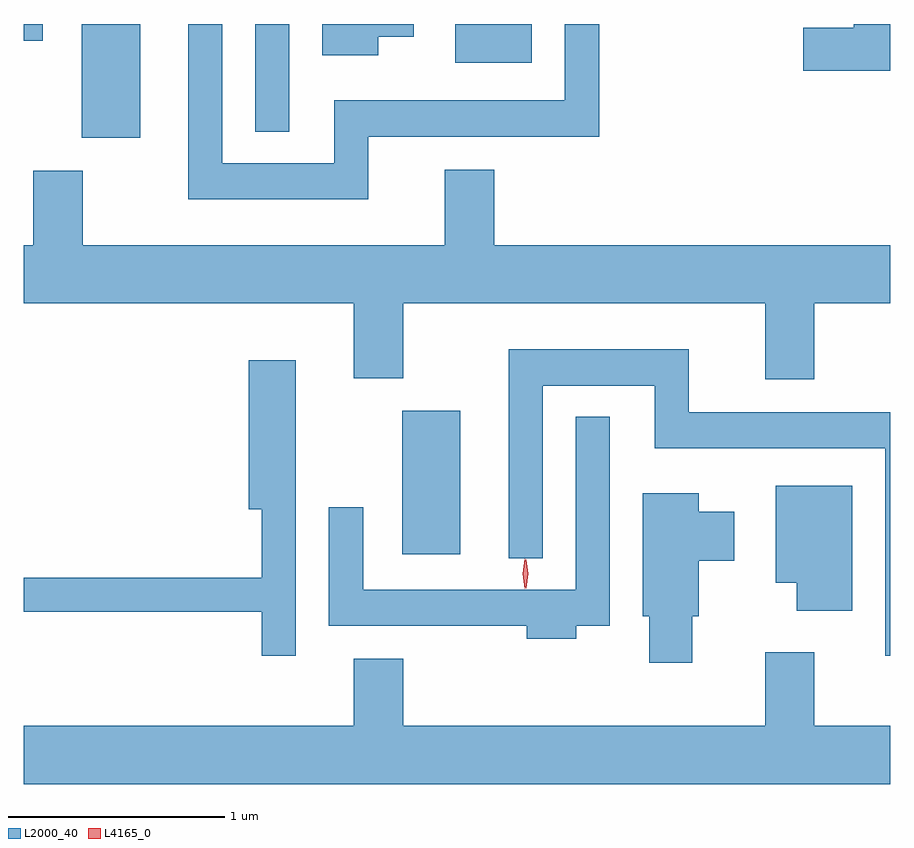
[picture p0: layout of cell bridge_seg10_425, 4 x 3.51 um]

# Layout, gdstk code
import gdstk
lib = gdstk.Library(unit=1e-6, precision=1e-09)
def R(c, l, rs):  # rectangles x0, y0, x1, y1
    for r in rs: c.add(gdstk.rectangle(r[:2], r[2:], *l))
def P(c, l, *ps):  # polygons
    for p in ps: c.add(gdstk.Polygon(p, *l))
L2000_40 = (2000, 40)
L4165_0 = (4165, 0)

bridge_seg10_425 = lib.new_cell('bridge_seg10_425')
R(bridge_seg10_425, L2000_40, [(1416.286,2112.756,1416.554,2113.419), (1414.806,2114.681,1415.074,2115.206), (1415.606,2114.708,1415.764,2115.206), (1416.531,2115.026,1416.884,2115.206), (1414.538,2115.128,1414.624,2115.206)])
P(bridge_seg10_425, L2000_40, [(1418.538,2115.206),(1418.371,2115.206),(1418.371,2115.189),(1418.136,2115.189),(1418.136,2114.991),(1418.538,2114.991)],
  [(1416.129,2114.686),(1417.194,2114.686),(1417.194,2115.206),(1417.036,2115.206),(1417.036,2114.854),(1415.971,2114.854),(1415.971,2114.564),(1415.454,2114.564),(1415.454,2115.206),(1415.296,2115.206),(1415.296,2114.396),(1416.129,2114.396)],
  [(1416.174,2115.146),(1416.339,2115.146),(1416.339,2115.206),(1415.916,2115.206),(1415.916,2115.061),(1416.174,2115.061)],
  [(1418.189,2113.916),(1418.538,2113.916),(1418.538,2114.184),(1416.709,2114.184),(1416.709,2114.534),(1416.481,2114.534),(1416.481,2114.184),(1414.809,2114.184),(1414.809,2114.529),(1414.581,2114.529),(1414.581,2114.184),(1414.538,2114.184),(1414.538,2113.916),(1416.061,2113.916),(1416.061,2113.571),(1416.289,2113.571),(1416.289,2113.916),(1417.961,2113.916),(1417.961,2113.566),(1418.189,2113.566)],
  [(1418.538,2113.414),(1417.609,2113.414),(1417.609,2113.704),(1416.776,2113.704),(1416.776,2112.738),(1416.934,2112.738),(1416.934,2113.536),(1417.451,2113.536),(1417.451,2113.246),(1418.516,2113.246),(1418.516,2112.288),(1418.538,2112.288)],
  [(1415.794,2113.654),(1415.576,2113.654),(1415.576,2112.966),(1415.636,2112.966),(1415.636,2112.649),(1414.538,2112.649),(1414.538,2112.491),(1415.636,2112.491),(1415.636,2112.288),(1415.794,2112.288)],
  [(1417.089,2112.426),(1417.244,2112.426),(1417.244,2113.393),(1417.086,2113.393),(1417.086,2112.594),(1416.104,2112.594),(1416.104,2112.973),(1415.946,2112.973),(1415.946,2112.426),(1416.861,2112.426),(1416.861,2112.366),(1417.089,2112.366)],
  [(1418.364,2113.074),(1418.011,2113.074),(1418.011,2112.626),(1418.106,2112.626),(1418.106,2112.496),(1418.364,2112.496)],
  [(1417.624,2112.471),(1417.654,2112.471),(1417.654,2112.726),(1417.819,2112.726),(1417.819,2112.954),(1417.654,2112.954),(1417.654,2113.039),(1417.396,2113.039),(1417.396,2112.471),(1417.426,2112.471),(1417.426,2112.256),(1417.624,2112.256)],
  [(1418.538,2111.964),(1418.189,2111.964),(1418.189,2112.304),(1417.961,2112.304),(1417.961,2111.964),(1416.289,2111.964),(1416.289,2112.274),(1416.061,2112.274),(1416.061,2111.964),(1414.538,2111.964),(1414.538,2111.696),(1418.538,2111.696)])
P(bridge_seg10_425, L4165_0, [(1416.851,2112.597),(1416.842,2112.667),(1416.851,2112.736),(1416.852,2112.736),(1416.852,2112.736),(1416.862,2112.667),(1416.852,2112.597),(1416.852,2112.597)],
  [(1416.856,2112.599),(1416.856,2112.6),(1416.846,2112.666),(1416.856,2112.732),(1416.856,2112.733),(1416.857,2112.732),(1416.866,2112.666),(1416.857,2112.6)])

lib.write_gds('bridge_seg10_425.gds')
